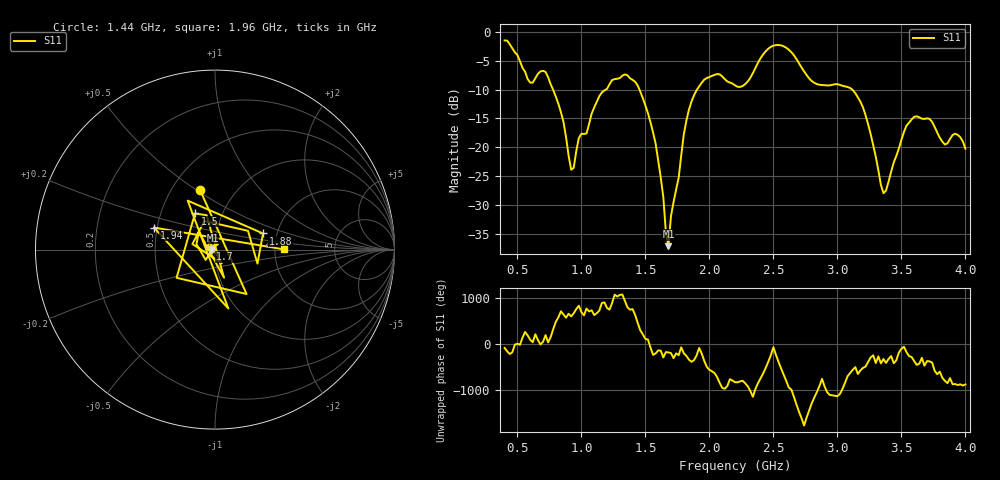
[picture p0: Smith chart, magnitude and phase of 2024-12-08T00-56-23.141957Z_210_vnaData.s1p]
!Created with skrf (http://scikit-rf.org).
# Hz S RI R 50.0
!freq ReS11 ImS11
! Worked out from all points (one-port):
!   181 points, 400 MHz to 4 GHz, reference 50 ohm
!   lowest |S11| = -37.0 dB at 1.68 GHz (marker M1), VSWR 1.03, Z = 48.6 - j0.14 ohm
!   |S11| at or under -10 dB: 778 MHz to 1.191 GHz (413.3 MHz wide, 42 % of centre); 1.453 GHz to 1.903 GHz (450.1 MHz wide, 26.8 % of centre); 3.115 GHz to end of sweep
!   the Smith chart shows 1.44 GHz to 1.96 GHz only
!   S11 on the Smith chart (normalised r, x): 1.44 GHz: 0.69, +0.52; 1.5 GHz: 0.74, +0.32; 1.7 GHz: 0.95, +0.01; 1.88 GHz: 1.69, +0.33; 1.94 GHz: 0.48, +0.14; 1.96 GHz: 2.25, +0.01
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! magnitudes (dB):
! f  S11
! 400 MHz  -1.5
! 600 MHz  -8.8
! 720 MHz  -7.0
! 860 MHz  -15.6
! 920 MHz  -23.8
! 940 MHz  -23.5
! 980 MHz  -18.4
! 1.14 GHz  -11.1
! 1.3 GHz  -8.0
! 1.44 GHz  -9.3
! 1.5 GHz  -12.8
! 1.58 GHz  -19.3
! 1.68 GHz  -37.0
! 1.7 GHz  -31.8
! 1.76 GHz  -25.2
! 1.8 GHz  -17.7
! 1.88 GHz  -11.0
! 1.94 GHz  -8.8
! 1.96 GHz  -8.3
! 2.2 GHz  -9.3
! 2.48 GHz  -2.6
! 2.66 GHz  -4.1
! 2.82 GHz  -8.9
! 3.1 GHz  -9.7
! 3.22 GHz  -14.4
! 3.36 GHz  -27.9
! 3.56 GHz  -15.7
! 4 GHz  -20.2
